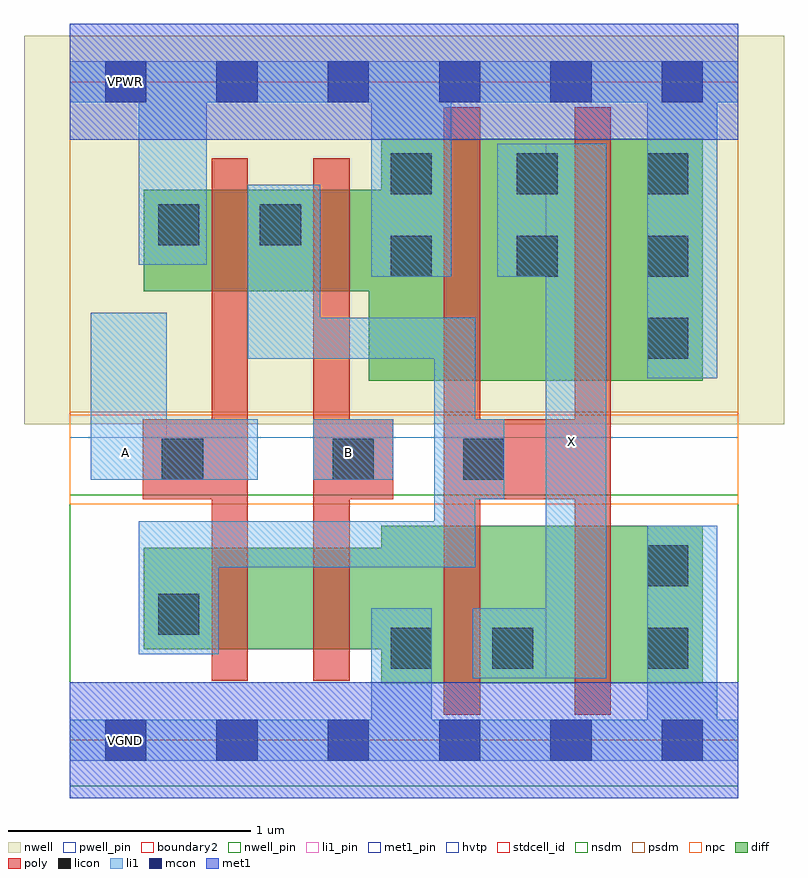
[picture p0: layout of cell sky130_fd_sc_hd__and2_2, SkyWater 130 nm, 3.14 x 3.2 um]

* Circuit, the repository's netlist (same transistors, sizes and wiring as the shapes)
* Copyright 2020 The SkyWater PDK Authors
*
* Licensed under the Apache License, Version 2.0 (the "License");
* you may not use this file except in compliance with the License.
* You may obtain a copy of the License at
*
*     https://www.apache.org/licenses/LICENSE-2.0
*
* Unless required by applicable law or agreed to in writing, software
* distributed under the License is distributed on an "AS IS" BASIS,
* WITHOUT WARRANTIES OR CONDITIONS OF ANY KIND, either express or implied.
* See the License for the specific language governing permissions and
* limitations under the License.
*
* SPDX-License-Identifier: Apache-2.0


.subckt sky130_fd_sc_hd__and2_2 A B VGND VNB VPB VPWR X
X0 VPWR a_61_75# X VPB sky130_fd_pr__pfet_01v8_hvt w=1 l=150000u
X1 VPWR A a_61_75# VPB sky130_fd_pr__pfet_01v8_hvt w=420000u l=150000u
X2 a_147_75# B VGND VNB sky130_fd_pr__nfet_01v8 w=420000u l=150000u
X3 a_61_75# B VPWR VPB sky130_fd_pr__pfet_01v8_hvt w=420000u l=150000u
X4 VGND a_61_75# X VNB sky130_fd_pr__nfet_01v8 w=650000u l=150000u
X5 X a_61_75# VGND VNB sky130_fd_pr__nfet_01v8 w=650000u l=150000u
X6 a_61_75# A a_147_75# VNB sky130_fd_pr__nfet_01v8 w=420000u l=150000u
X7 X a_61_75# VPWR VPB sky130_fd_pr__pfet_01v8_hvt w=1 l=150000u
.ends

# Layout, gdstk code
import gdstk
lib = gdstk.Library(unit=1e-6, precision=1e-09)
def R(c, l, rs):  # rectangles x0, y0, x1, y1
    for r in rs: c.add(gdstk.rectangle(r[:2], r[2:], *l))
def A(c, l, x, y, w, h, nx, ny, dx, dy):  # array of equal rectangles
    R(c, l, [(x+i*dx, y+j*dy, x+i*dx+w, y+j*dy+h) for i in range(nx) for j in range(ny)])
def P(c, l, *ps):  # polygons
    for p in ps: c.add(gdstk.Polygon(p, *l))
nwell_pin = (64, 16)
nwell = (64, 20)
diff = (65, 20)
poly = (66, 20)
licon = (66, 44)
li1_pin = (67, 16)
li1 = (67, 20)
mcon = (67, 44)
met1_pin = (68, 16)
met1 = (68, 20)
hvtp = (78, 44)
stdcell_id = (81, 4)
nsdm = (93, 44)
psdm = (94, 20)
npc = (95, 20)
pwell_pin = (122, 16)
boundary2 = (236, 0)

sky130_fd_sc_hd__and2_2 = lib.new_cell('sky130_fd_sc_hd__and2_2')
R(sky130_fd_sc_hd__and2_2, nwell_pin, [(0.145,2.635,0.315,2.805)])
R(sky130_fd_sc_hd__and2_2, nwell, [(-0.19,1.305,2.95,2.91)])
P(sky130_fd_sc_hd__and2_2, diff, [(1.235,1.485),(1.235,1.855),(0.305,1.855),(0.305,2.275),(1.285,2.275),(1.285,2.485),(2.615,2.485),(2.615,1.485)],
  [(1.285,0.235),(1.285,0.375),(0.305,0.375),(0.305,0.795),(1.285,0.795),(1.285,0.885),(2.615,0.885),(2.615,0.235)])
P(sky130_fd_sc_hd__and2_2, poly, [(0.585,0.245),(0.585,0.995),(0.3,0.995),(0.3,1.325),(0.585,1.325),(0.585,2.405),(0.735,2.405),(0.735,0.245)],
  [(1.005,0.245),(1.005,2.405),(1.155,2.405),(1.155,1.325),(1.335,1.325),(1.335,0.995),(1.155,0.995),(1.155,0.245)],
  [(1.545,0.105),(1.545,2.615),(1.695,2.615),(1.695,1.325),(2.085,1.325),(2.085,2.615),(2.235,2.615),(2.235,0.105),(2.085,0.105),(2.085,0.995),(1.695,0.995),(1.695,0.105)])
A(sky130_fd_sc_hd__and2_2, licon, 2.385, 1.575, 0.17, 0.17, 1, 3, 0, 0.34)
R(sky130_fd_sc_hd__and2_2, licon, [(1.325,0.295,1.495,0.465), (1.745,0.295,1.915,0.465), (2.385,0.295,2.555,0.465), (0.365,0.435,0.535,0.605), (2.385,0.635,2.555,0.805), (0.38,1.075,0.55,1.245), (1.085,1.075,1.255,1.245), (1.625,1.075,1.795,1.245), (1.325,1.915,1.495,2.085), (1.845,1.915,2.015,2.085), (0.365,2.045,0.535,2.215), (0.785,2.045,0.955,2.215), (1.325,2.255,1.495,2.425), (1.845,2.255,2.015,2.425)])
R(sky130_fd_sc_hd__and2_2, li1_pin, [(1.965,0.255,2.215,2.465), (0.085,1.075,0.4,1.765), (1.005,1.075,1.335,1.325)])
R(sky130_fd_sc_hd__and2_2, li1, [(1.005,1.075,1.335,1.325)])
P(sky130_fd_sc_hd__and2_2, li1, [(0.085,1.075),(0.085,1.765),(0.4,1.765),(0.4,1.325),(0.775,1.325),(0.775,1.075)],
  [(0.285,0.355),(0.285,0.905),(1.505,0.905),(1.505,1.575),(0.735,1.575),(0.735,2.295),(1.035,2.295),(1.035,1.745),(1.675,1.745),(1.675,1.325),(1.795,1.325),(1.795,0.995),(1.675,0.995),(1.675,0.715),(0.615,0.715),(0.615,0.355)],
  [(0,-0.085),(0,0.085),(1.245,0.085),(1.245,0.545),(1.495,0.545),(1.495,0.085),(2.385,0.085),(2.385,0.885),(2.675,0.885),(2.675,0.085),(2.76,0.085),(2.76,-0.085)],
  [(1.665,0.255),(1.665,0.545),(1.965,0.545),(1.965,1.915),(1.765,1.915),(1.765,2.465),(2.215,2.465),(2.215,0.255)],
  [(2.385,1.495),(2.385,2.635),(1.575,2.635),(1.575,1.915),(1.245,1.915),(1.245,2.635),(0.565,2.635),(0.565,1.965),(0.285,1.965),(0.285,2.635),(0,2.635),(0,2.805),(2.76,2.805),(2.76,2.635),(2.675,2.635),(2.675,1.495)])
A(sky130_fd_sc_hd__and2_2, mcon, 0.145, -0.085, 0.17, 0.17, 6, 2, 0.46, 2.72)
R(sky130_fd_sc_hd__and2_2, met1_pin, [(0,-0.24,2.76,0.24), (0,2.48,2.76,2.96)])
R(sky130_fd_sc_hd__and2_2, met1, [(0,-0.24,2.76,0.24), (0,2.48,2.76,2.96)])
R(sky130_fd_sc_hd__and2_2, hvtp, [(0,1.25,2.76,2.72)])
R(sky130_fd_sc_hd__and2_2, stdcell_id, [(0,0,2.76,2.72)])
R(sky130_fd_sc_hd__and2_2, nsdm, [(0,-0.19,2.76,1.015)])
R(sky130_fd_sc_hd__and2_2, psdm, [(0,1.355,2.76,2.91)])
R(sky130_fd_sc_hd__and2_2, npc, [(0,0.975,2.76,1.345)])
R(sky130_fd_sc_hd__and2_2, pwell_pin, [(0.145,-0.085,0.315,0.085)])
R(sky130_fd_sc_hd__and2_2, boundary2, [(0,0,2.76,2.72)])
sky130_fd_sc_hd__and2_2.add(gdstk.Label('VPWR', (0.23,2.72), layer=68, texttype=5))
sky130_fd_sc_hd__and2_2.add(gdstk.Label('VGND', (0.23,0), layer=68, texttype=5))
sky130_fd_sc_hd__and2_2.add(gdstk.Label('X', (2.071,1.235), layer=67, texttype=5))
sky130_fd_sc_hd__and2_2.add(gdstk.Label('A', (0.23,1.19), layer=67, texttype=5))
sky130_fd_sc_hd__and2_2.add(gdstk.Label('B', (1.15,1.19), layer=67, texttype=5))
sky130_fd_sc_hd__and2_2.add(gdstk.Label('VPB', (0.23,2.72), layer=64, texttype=5))
sky130_fd_sc_hd__and2_2.add(gdstk.Label('VNB', (0.23,0), layer=64, texttype=59))

lib.write_gds('sky130_fd_sc_hd__and2_2.gds')
